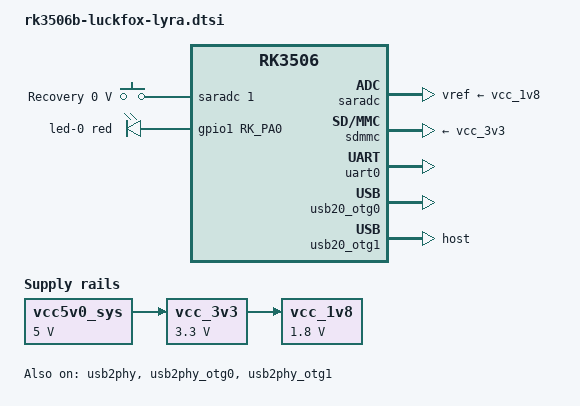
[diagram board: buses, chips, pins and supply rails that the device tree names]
// SPDX-License-Identifier: (GPL-2.0+ OR MIT)

#include <dt-bindings/input/input.h>
#include <dt-bindings/leds/common.h>
#include "rk3506.dtsi"

/ {
	aliases {
		mmc0 = &sdmmc;
		serial0 = &uart0;
	};

	chosen {
		stdout-path = "serial0:1500000n8";
	};

	adc-keys {
		compatible = "adc-keys";
		io-channels = <&saradc 1>;
		io-channel-names = "buttons";
		keyup-threshold-microvolt = <1800000>;
		poll-interval = <100>;

		button-recovery {
			label = "Recovery";
			linux,code = <KEY_VENDOR>;
			press-threshold-microvolt = <0>;
		};
	};

	leds {
		compatible = "gpio-leds";

		led-0 {
			color = <LED_COLOR_ID_RED>;
			default-state = "on";
			function = LED_FUNCTION_HEARTBEAT;
			gpios = <&gpio1 RK_PA0 GPIO_ACTIVE_HIGH>;
			linux,default-trigger = "heartbeat";
			pinctrl-names = "default";
			pinctrl-0 = <&led1>;
		};
	};

	vcc_1v8: regulator-1v8 {
		compatible = "regulator-fixed";
		regulator-name = "vcc_1v8";
		regulator-always-on;
		regulator-boot-on;
		regulator-min-microvolt = <1800000>;
		regulator-max-microvolt = <1800000>;
		vin-supply = <&vcc_3v3>;
	};

	vcc_3v3: regulator-3v3 {
		compatible = "regulator-fixed";
		regulator-name = "vcc_3v3";
		regulator-always-on;
		regulator-boot-on;
		regulator-min-microvolt = <3300000>;
		regulator-max-microvolt = <3300000>;
		vin-supply = <&vcc5v0_sys>;
	};

	vcc5v0_sys: regulator-5v0-sys {
		compatible = "regulator-fixed";
		regulator-name = "vcc5v0_sys";
		regulator-always-on;
		regulator-boot-on;
		regulator-min-microvolt = <5000000>;
		regulator-max-microvolt = <5000000>;
	};
};

&pinctrl {
	leds {
		/omit-if-no-ref/
		led1: led1 {
			rockchip,pins = <1 RK_PA0 RK_FUNC_GPIO &pcfg_pull_none>;
		};
	};
};

&saradc {
	vref-supply = <&vcc_1v8>;
	status = "okay";
};

&sdmmc {
	cap-mmc-highspeed;
	cap-sd-highspeed;
	disable-wp;
	no-sdio;
	vmmc-supply = <&vcc_3v3>;
	status = "okay";
};

&uart0 {
	status = "okay";
};

&usb20_otg0 {
	status = "okay";
};

&usb20_otg1 {
	dr_mode = "host";
	status = "okay";
};

&usb2phy {
	status = "okay";
};

&usb2phy_otg0 {
	status = "okay";
};

&usb2phy_otg1 {
	status = "okay";
};
